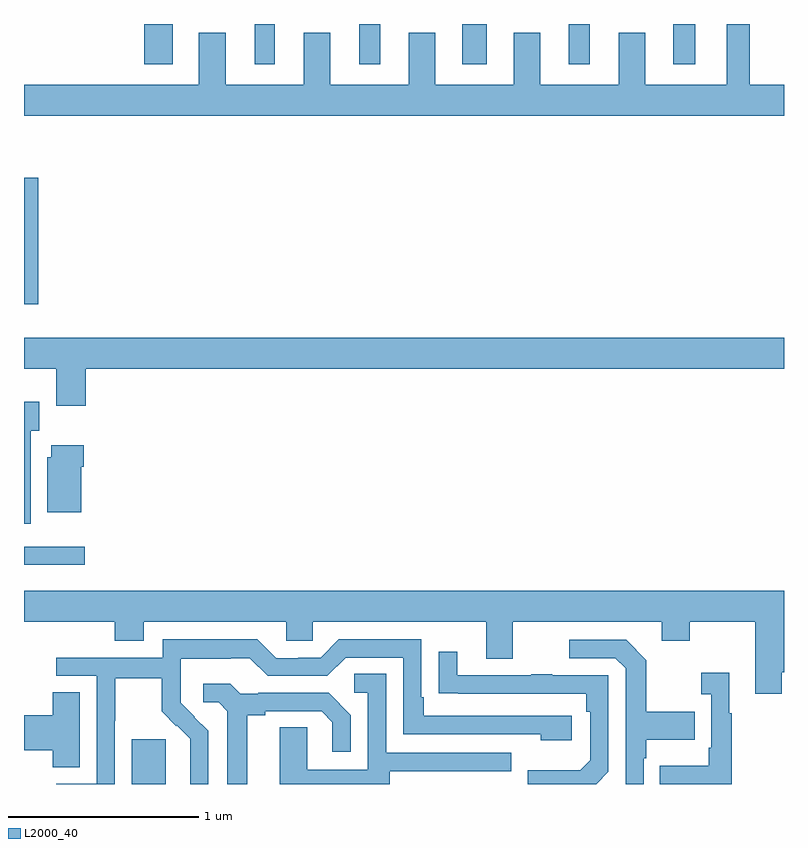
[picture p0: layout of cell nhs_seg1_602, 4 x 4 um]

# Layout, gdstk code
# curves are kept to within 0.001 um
import gdstk
lib = gdstk.Library(unit=1e-6, precision=1e-09)
def R(c, l, rs):  # rectangles x0, y0, x1, y1
    for r in rs: c.add(gdstk.rectangle(r[:2], r[2:], *l))
def P(c, l, *ps):  # polygons
    for p in ps: c.add(gdstk.Polygon(p, *l))
L2000_40 = (2000, 40)

nhs_seg1_602 = lib.new_cell('nhs_seg1_602')
R(nhs_seg1_602, L2000_40, [(143.567,564.199,143.746,564.435), (143,565.352,143.32,565.449), (143,566.724,143.075,567.391), (143.633,567.987,143.782,568.199), (144.215,567.987,144.319,568.199), (144.764,567.987,144.874,568.199), (145.307,567.987,145.435,568.199), (145.868,567.987,145.978,568.199), (146.417,567.987,146.533,568.199)])
P(nhs_seg1_602, L2000_40, [(143.921,568.153),(143.921,567.88),(143,567.88),(143,567.716),(147,567.716),(147,567.88),(146.821,567.88),(146.821,568.199),(146.699,568.199),(146.699,567.88),(146.269,567.88),(146.269,568.153),(146.129,568.153),(146.129,567.88),(145.717,567.88),(145.717,568.153),(145.577,568.153),(145.577,567.88),(145.165,567.88),(145.165,568.153),(145.025,568.153),(145.025,567.88),(144.613,567.88),(144.613,568.153),(144.473,568.153),(144.473,567.88),(144.061,567.88),(144.061,568.153)],
  [(143.324,566.384),(147,566.384),(147,566.548),(143,566.548),(143,566.384),(143.171,566.384),(143.171,566.19),(143.324,566.19)],
  [(143.035,566.058),(143.08,566.058),(143.08,566.212),(143,566.212),(143,565.569),(143.035,565.569)],
  [(143.302,565.868),(143.315,565.868),(143.315,565.981),(143.144,565.981),(143.144,565.92),(143.123,565.92),(143.123,565.628),(143.302,565.628)],
  [(146.989,564.787),(147,564.787),(147,565.216),(143,565.216),(143,565.052),(143.477,565.052),(143.477,564.953),(143.629,564.953),(143.629,565.052),(144.381,565.052),(144.381,564.954),(144.519,564.954),(144.519,565.052),(145.433,565.052),(145.433,564.858),(145.573,564.858),(145.573,565.052),(146.357,565.052),(146.357,564.953),(146.505,564.953),(146.505,565.052),(146.849,565.052),(146.849,564.675),(146.989,564.675)],
  [(143.478,564.532),(143.481,564.532),(143.481,564.756),(143.725,564.756),(143.725,564.581),(143.802,564.504),(143.805,564.507),(143.876,564.437),(143.876,564.314),(143.874,564.314),(143.874,564.199),(143.97,564.199),(143.97,564.478),(143.824,564.626),(143.824,564.723),(143.826,564.723),(143.826,564.857),(144.089,564.857),(144.089,564.861),(144.189,564.861),(144.282,564.768),(144.597,564.768),(144.693,564.864),(144.996,564.864),(144.996,564.462),(145.721,564.462),(145.721,564.428),(145.882,564.428),(145.882,564.558),(145.105,564.558),(145.105,564.655),(145.092,564.655),(145.092,564.96),(144.657,564.96),(144.561,564.864),(144.443,564.864),(144.443,564.861),(144.327,564.861),(144.227,564.961),(143.73,564.961),(143.73,564.864),(143.169,564.864),(143.169,564.768),(143.382,564.768),(143.382,564.201),(143.169,564.201),(143.169,564.199),(143.478,564.199)],
  [(146.262,564.335),(146.275,564.335),(146.275,564.431),(146.531,564.431),(146.531,564.579),(146.275,564.579),(146.275,564.851),(146.169,564.957),(145.869,564.957),(145.869,564.861),(146.112,564.861),(146.166,564.807),(146.166,564.199),(146.262,564.199)],
  [(146.076,564.264),(146.076,564.771),(145.781,564.771),(145.781,564.776),(145.669,564.776),(145.669,564.771),(145.279,564.771),(145.279,564.895),(145.183,564.895),(145.183,564.676),(145.96,564.675),(145.96,564.578),(145.98,564.578),(145.98,564.324),(145.927,564.271),(145.65,564.271),(145.65,564.199),(146.011,564.199)],
  [(146.725,564.571),(146.713,564.571),(146.713,564.784),(146.565,564.784),(146.565,564.671),(146.616,564.671),(146.616,564.391),(146.604,564.391),(146.604,564.295),(146.347,564.295),(146.347,564.199),(146.725,564.199)],
  [(144.925,564.267),(145.565,564.267),(145.565,564.363),(144.906,564.363),(144.906,564.779),(144.738,564.779),(144.738,564.678),(144.81,564.678),(144.81,564.273),(144.492,564.273),(144.492,564.497),(144.347,564.497),(144.347,564.199),(144.925,564.199)],
  [(144.175,564.56),(144.271,564.56),(144.271,564.582),(144.566,564.582),(144.623,564.525),(144.623,564.369),(144.72,564.369),(144.72,564.562),(144.604,564.678),(144.232,564.678),(144.232,564.675),(144.138,564.675),(144.086,564.727),(143.943,564.727),(143.943,564.63),(144.024,564.63),(144.071,564.583),(144.071,564.199),(144.175,564.199)],
  [(143.293,564.683),(143.15,564.683),(143.15,564.56),(143,564.56),(143,564.377),(143.15,564.377),(143.15,564.286),(143.293,564.286)])

lib.write_gds('nhs_seg1_602.gds')
